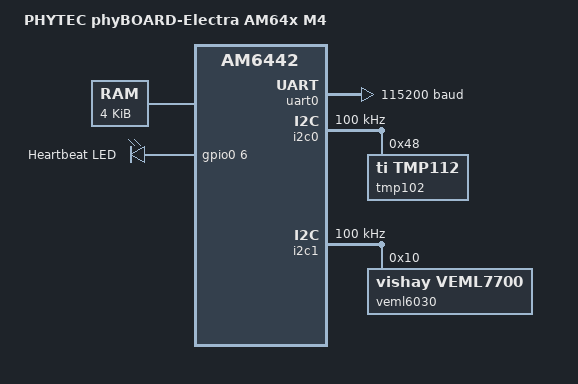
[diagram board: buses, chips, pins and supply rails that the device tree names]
/*
 * Copyright (C) 2024 PHYTEC Messtechnik GmbH
 * Author: Daniel Schultz <d.schultz@phytec.de>
 *
 * SPDX-License-Identifier: Apache-2.0
 */

/dts-v1/;

#include <ti/am64x_m4.dtsi>
#include "phyboard_electra_am6442_m4-pinctrl.dtsi"

/ {
	model = "PHYTEC phyBOARD-Electra AM64x M4";
	compatible = "phytec,phyboard-electra-am64xx-m4", "ti,am6442";

	chosen {
		zephyr,sram = &sram0;
		zephyr,console = &uart0;
		zephyr,shell-uart = &uart0;
		zephyr,sram1 = &ddr0;
	};

	aliases {
		led0 = &heartbeat_led;
	};

	cpus {
		cpu@0 {
			status = "okay";
			clock-frequency = <DT_FREQ_M(400)>;
		};
	};

	ddr0:memory@a4100000 {
		compatible = "zephyr,memory-region", "mmio-sram";
		reg = <0xa4100000 DT_SIZE_K(4)>;
		zephyr,memory-region = "DDR";
	};

	leds: leds {
		compatible = "gpio-leds";
		heartbeat_led: led_0 {
			gpios = <&gpio0 6 GPIO_ACTIVE_HIGH>;
			label = "Heartbeat LED";
		};
	};
};

&uart0 {
	current-speed = <115200>;
	pinctrl-0 = <&mcu_uart0_rx_default &mcu_uart0_tx_default>;
	pinctrl-names = "default";
	status = "okay";
};

&i2c0 {
	pinctrl-0 = <&mcu_i2c0_sda_default &mcu_i2c0_scl_default>;
	pinctrl-names = "default";
	clock-frequency = <I2C_BITRATE_STANDARD>;
	status = "okay";

	tmp102@48 {
		compatible = "ti,tmp112";
		reg = <0x48>;
	};
};

&i2c1 {
	pinctrl-0 = <&mcu_i2c1_sda_default &mcu_i2c1_scl_default>;
	pinctrl-names = "default";
	clock-frequency = <I2C_BITRATE_STANDARD>;
	status = "okay";

	veml6030@10 {
		compatible = "vishay,veml7700";
		reg = <0x10>;
	};
};


&gpio0 {
	pinctrl-0 = <&mcu_gpio0_led_default>;
	pinctrl-names = "default";
	status = "okay";
};
